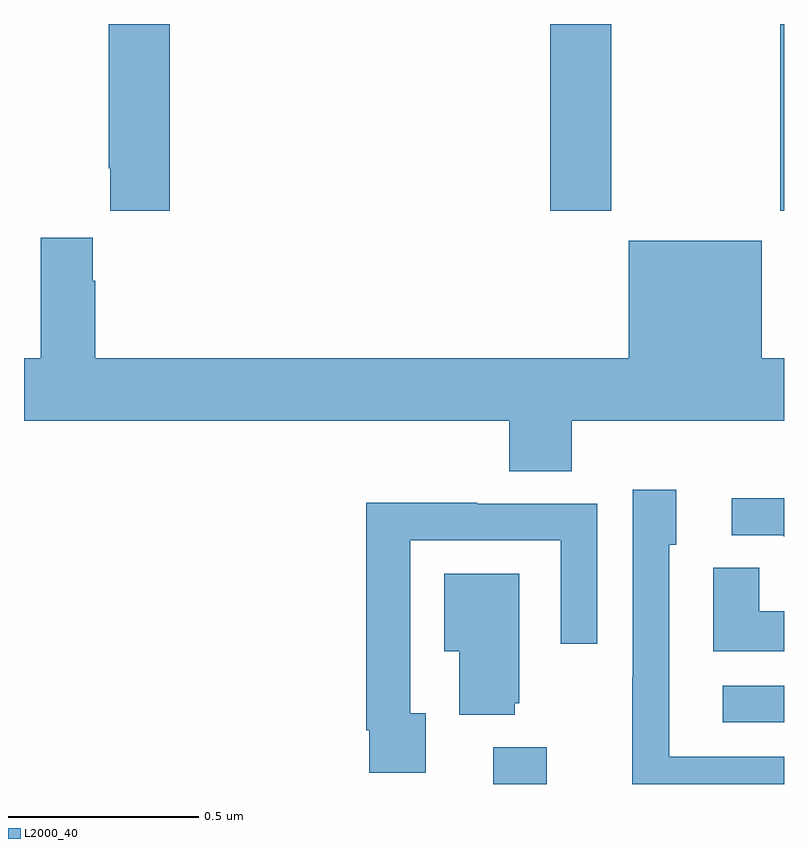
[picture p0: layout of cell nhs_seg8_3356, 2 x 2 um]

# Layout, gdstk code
import gdstk
lib = gdstk.Library(unit=1e-6, precision=1e-09)
def R(c, l, rs):  # rectangles x0, y0, x1, y1
    for r in rs: c.add(gdstk.rectangle(r[:2], r[2:], *l))
def P(c, l, *ps):  # polygons
    for p in ps: c.add(gdstk.Polygon(p, *l))
L2000_40 = (2000, 40)

nhs_seg8_3356 = lib.new_cell('nhs_seg8_3356')
R(nhs_seg8_3356, L2000_40, [(157.235,1092.9,157.375,1092.997), (157.839,1093.062,158,1093.158), (157.385,1094.409,157.545,1094.9), (157.99,1094.409,158,1094.9)])
P(nhs_seg8_3356, L2000_40, [(156.223,1094.521),(156.227,1094.521),(156.227,1094.409),(156.383,1094.409),(156.383,1094.9),(156.223,1094.9)],
  [(157.442,1093.856),(158,1093.856),(158,1094.02),(157.942,1094.02),(157.942,1094.329),(157.592,1094.329),(157.592,1094.02),(156.188,1094.02),(156.188,1094.225),(156.181,1094.225),(156.181,1094.338),(156.044,1094.338),(156.044,1094.02),(156,1094.02),(156,1093.856),(157.277,1093.856),(157.277,1093.723),(157.442,1093.723)],
  [(158,1092.972),(157.698,1092.972),(157.698,1093.53),(157.717,1093.53),(157.717,1093.675),(157.602,1093.675),(157.602,1093.181),(157.6,1093.181),(157.6,1092.9),(158,1092.9)],
  [(158,1093.652),(157.863,1093.652),(157.863,1093.554),(157.997,1093.554),(158,1093.551)],
  [(157.057,1093.086),(157.017,1093.086),(157.017,1093.542),(157.413,1093.542),(157.413,1093.269),(157.509,1093.269),(157.509,1093.638),(157.193,1093.638),(157.193,1093.64),(156.901,1093.64),(156.901,1093.042),(156.909,1093.042),(156.909,1092.93),(157.057,1092.93)],
  [(158,1093.354),(157.935,1093.354),(157.935,1093.469),(157.814,1093.469),(157.814,1093.25),(158,1093.25)],
  [(157.292,1093.113),(157.303,1093.113),(157.303,1093.453),(157.106,1093.453),(157.106,1093.25),(157.145,1093.25),(157.145,1093.082),(157.292,1093.082)])

lib.write_gds('nhs_seg8_3356.gds')
